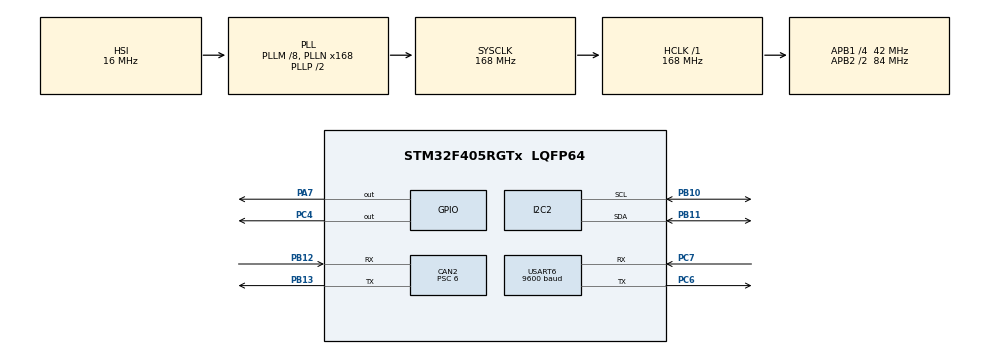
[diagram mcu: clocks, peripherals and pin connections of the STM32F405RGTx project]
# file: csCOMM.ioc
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CAN2.BS1=CAN_BS1_11TQ
CAN2.BS2=CAN_BS2_2TQ
CAN2.CalculateBaudRate=500000
CAN2.CalculateTimeBit=2000
CAN2.CalculateTimeQuantum=142.85714285714286
CAN2.Prescaler=6
Mcu.Family=STM32F4
Mcu.Name=STM32F405RGTx
Mcu.Package=LQFP64
NVIC.CAN2_RX0_IRQn=true\:0\:0\:false\:false\:true\:true\:true\:true
NVIC.PriorityGroup=NVIC_PRIORITYGROUP_4
PA13.Mode=Serial_Wire
PA13.Signal=SYS_JTMS-SWDIO
PA14.Mode=Serial_Wire
PA14.Signal=SYS_JTCK-SWCLK
PA7.Signal=GPIO_Output
PB10.Mode=I2C
PB10.Signal=I2C2_SCL
PB11.Mode=I2C
PB11.Signal=I2C2_SDA
PB12.Mode=CAN_Activate
PB12.Signal=CAN2_RX
PB13.Mode=CAN_Activate
PB13.Signal=CAN2_TX
PC4.Signal=GPIO_Output
PC6.Mode=Asynchronous
PC6.Signal=USART6_TX
PC7.Mode=Asynchronous
PC7.Signal=USART6_RX
PH0-OSC_IN.Mode=HSE-External-Oscillator
PH0-OSC_IN.Signal=RCC_OSC_IN
PH1-OSC_OUT.Mode=HSE-External-Oscillator
PH1-OSC_OUT.Signal=RCC_OSC_OUT
ProjectManager.HeapSize=0x200
ProjectManager.StackSize=0x400
ProjectManager.TargetToolchain=STM32CubeIDE
RCC.48MHZClocksFreq_Value=84000000
RCC.AHBFreq_Value=168000000
RCC.APB1CLKDivider=RCC_HCLK_DIV4
RCC.APB1Freq_Value=42000000
RCC.APB1TimFreq_Value=84000000
RCC.APB2CLKDivider=RCC_HCLK_DIV2
RCC.APB2Freq_Value=84000000
RCC.APB2TimFreq_Value=168000000
RCC.CortexFreq_Value=168000000
RCC.HCLKFreq_Value=168000000
RCC.HSE_VALUE=8000000
RCC.HSI_VALUE=16000000
RCC.LSE_VALUE=32768
RCC.PLLM=8
RCC.PLLN=168
RCC.SYSCLKFreq_VALUE=168000000
RCC.SYSCLKSource=RCC_SYSCLKSOURCE_PLLCLK
RCC.VCOOutputFreq_Value=336000000
RTC.Format=RTC_FORMAT_BIN
USART6.BaudRate=9600
USART6.VirtualMode=VM_ASYNC
VP_RTC_VS_RTC_Activate.Mode=RTC_Enabled
VP_RTC_VS_RTC_Calendar.Mode=RTC_Calendar
board=custom

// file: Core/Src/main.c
/* USER CODE BEGIN Header */
/**
  ******************************************************************************
  * @file           : main.c
  * @brief          : Main program body
  ******************************************************************************
  * @attention
  *
  * Copyright (c) 2026 STMicroelectronics.
  * All rights reserved.
  *
  * This software is licensed under terms that can be found in the LICENSE file
  * in the root directory of this software component.
  * If no LICENSE file comes with this software, it is provided AS-IS.
  *
  ******************************************************************************
  */
/* USER CODE END Header */
#include "main.h"

/* USER CODE BEGIN Includes */
#include <string.h>
#include <stdio.h>
#include "loraLib.h"
#include "INA219.h"
/* USER CODE END Includes */

/* USER CODE BEGIN PD */
RTC_TimeTypeDef sTime = {0};
RTC_DateTypeDef sDate = {0};

INA219_t ina219;
/* USER CODE END PD */

/* USER CODE BEGIN PM */
#define RECIEVER_ADDRESS 7
#define RECIEVER_CHANNEL 27
/* USER CODE END PM */

CAN_HandleTypeDef hcan2;

I2C_HandleTypeDef hi2c2;

RTC_HandleTypeDef hrtc;

UART_HandleTypeDef huart6;

/* USER CODE BEGIN PV */
CAN_TxHeaderTypeDef TxHeader;
CAN_RxHeaderTypeDef RxHeader;

uint32_t TxMailbox;

uint8_t TxData[8];
uint8_t RxData[8];

HAL_StatusTypeDef status;

volatile float receivedValue1 = 0;
volatile float receivedValue2 = 0;

float pitch, roll, yaw, altitude, pressure, temperature, busVoltageFloat, currentFloat,
	  accX, accY, accZ, latitude, longitude, satelliteCount, gpsAltitude;

uint8_t rtcHour;
uint8_t rtcMinute;
uint8_t rtcSecond;
uint16_t rtcMs;

uint8_t rtc2Hour;
uint8_t rtc2Minute;
uint8_t rtc2Second;
uint16_t rtc2Ms;

float busVoltage2Float;
float current2Float;

/////////////INA219 PV/////////////
uint8_t inaOK = 0;
uint16_t busVoltage;
int16_t current;
/* USER CODE END PV */

void SystemClock_Config(void);
static void MX_GPIO_Init(void);
static void MX_CAN2_Init(void);
static void MX_I2C2_Init(void);
static void MX_USART6_UART_Init(void);
static void MX_RTC_Init(void);

/* USER CODE BEGIN 0 */
void CAN_Filter_Config(void);
void CAN_Send_TwoFloat(float a, float b);
/* USER CODE END 0 */

int main(void)
{

  /* MCU Configuration--------------------------------------------------------*/

  /* Reset of all peripherals, Initializes the Flash interface and the Systick. */
  HAL_Init();

  /* Configure the system clock */
  SystemClock_Config();

  /* Initialize all configured peripherals */
  MX_GPIO_Init();
  MX_CAN2_Init();
  MX_I2C2_Init();
  MX_USART6_UART_Init();
  MX_RTC_Init();
  /* USER CODE BEGIN 2 */
  LoraConfigure();

  //////////////////INA219 Init//////////////////
  if (INA219_Init(&ina219, &hi2c2, INA219_ADDRESS))
  {
      inaOK = 1;
  } else inaOK = 2;

  INA219_setCalibration_32V_1A(&ina219);

  CAN_Filter_Config();
  HAL_CAN_Start(&hcan2);
  HAL_CAN_ActivateNotification(&hcan2, CAN_IT_RX_FIFO0_MSG_PENDING);
  /* USER CODE END 2 */

  /* Infinite loop */
  /* USER CODE BEGIN WHILE */
  while (1)
  {
	  HAL_RTC_GetTime(&hrtc, &sTime, RTC_FORMAT_BIN);
	  HAL_RTC_GetDate(&hrtc, &sDate, RTC_FORMAT_BIN);

	  busVoltage = INA219_ReadBusVoltage(&ina219);
	  current = INA219_ReadCurrent(&ina219);
	  //
	  		sensorData.saat = sTime.Hours;
	  		sensorData.dakika = sTime.Minutes;
	  		sensorData.saniye = sTime.Seconds;
	  	    sensorData.Ax = accX;
	  	    sensorData.Ay = accY;
	  	    sensorData.Az = accZ;
//	  	    sensorData.Gx = gyroX;
//	  	    sensorData.Gy = gyroY;
//	  	    sensorData.Gz = gyroZ;
	  	    sensorData.angleX = roll;
	  	    sensorData.angleY = pitch;
	  	    sensorData.angleZ = yaw;
	  		sensorData.enlem = latitude;
	  		sensorData.boylam = longitude;
	  		sensorData.gpsIrtifa = gpsAltitude;
	  		sensorData.uyduSayisi = satelliteCount;
	  		sensorData.irtifa = altitude;
	  		sensorData.SCVoltage = busVoltageFloat;
	  		sensorData.SCCurrent = currentFloat;
	  		sensorData.CCVoltage = busVoltage2Float;
	  		sensorData.CCCurrent = current2Float;
	  		sensorData.COMMCVoltage = busVoltage;
	  		sensorData.COMMCCurrent = current;
	  		LoraSendData(&huart6, 0x00, RECIEVER_ADDRESS, RECIEVER_CHANNEL, &sensorData, sizeof(SensorData));
	  		HAL_Delay(200);
    /* USER CODE END WHILE */

  }
}

void SystemClock_Config(void)
{
  RCC_OscInitTypeDef RCC_OscInitStruct = {0};
  RCC_ClkInitTypeDef RCC_ClkInitStruct = {0};

  /** Configure the main internal regulator output voltage
  */
  __HAL_RCC_PWR_CLK_ENABLE();
  __HAL_PWR_VOLTAGESCALING_CONFIG(PWR_REGULATOR_VOLTAGE_SCALE1);

  /** Initializes the RCC Oscillators according to the specified parameters
  * in the RCC_OscInitTypeDef structure.
  */
  RCC_OscInitStruct.OscillatorType = RCC_OSCILLATORTYPE_HSI|RCC_OSCILLATORTYPE_LSI;
  RCC_OscInitStruct.HSIState = RCC_HSI_ON;
  RCC_OscInitStruct.HSICalibrationValue = RCC_HSICALIBRATION_DEFAULT;
  RCC_OscInitStruct.LSIState = RCC_LSI_ON;
  RCC_OscInitStruct.PLL.PLLState = RCC_PLL_ON;
  RCC_OscInitStruct.PLL.PLLSource = RCC_PLLSOURCE_HSI;
  RCC_OscInitStruct.PLL.PLLM = 8;
  RCC_OscInitStruct.PLL.PLLN = 168;
  RCC_OscInitStruct.PLL.PLLP = RCC_PLLP_DIV2;
  RCC_OscInitStruct.PLL.PLLQ = 4;
  if (HAL_RCC_OscConfig(&RCC_OscInitStruct) != HAL_OK)
  {
    Error_Handler();
  }

  /** Initializes the CPU, AHB and APB buses clocks
  */
  RCC_ClkInitStruct.ClockType = RCC_CLOCKTYPE_HCLK|RCC_CLOCKTYPE_SYSCLK
                              |RCC_CLOCKTYPE_PCLK1|RCC_CLOCKTYPE_PCLK2;
  RCC_ClkInitStruct.SYSCLKSource = RCC_SYSCLKSOURCE_PLLCLK;
  RCC_ClkInitStruct.AHBCLKDivider = RCC_SYSCLK_DIV1;
  RCC_ClkInitStruct.APB1CLKDivider = RCC_HCLK_DIV4;
  RCC_ClkInitStruct.APB2CLKDivider = RCC_HCLK_DIV2;

  if (HAL_RCC_ClockConfig(&RCC_ClkInitStruct, FLASH_LATENCY_5) != HAL_OK)
  {
    Error_Handler();
  }
}

static void MX_CAN2_Init(void)
{

  hcan2.Instance = CAN2;
  hcan2.Init.Prescaler = 6;
  hcan2.Init.Mode = CAN_MODE_NORMAL;
  hcan2.Init.SyncJumpWidth = CAN_SJW_1TQ;
  hcan2.Init.TimeSeg1 = CAN_BS1_11TQ;
  hcan2.Init.TimeSeg2 = CAN_BS2_2TQ;
  hcan2.Init.TimeTriggeredMode = DISABLE;
  hcan2.Init.AutoBusOff = DISABLE;
  hcan2.Init.AutoWakeUp = DISABLE;
  hcan2.Init.AutoRetransmission = DISABLE;
  hcan2.Init.ReceiveFifoLocked = DISABLE;
  hcan2.Init.TransmitFifoPriority = DISABLE;
  if (HAL_CAN_Init(&hcan2) != HAL_OK)
  {
    Error_Handler();
  }

}

static void MX_I2C2_Init(void)
{

  hi2c2.Instance = I2C2;
  hi2c2.Init.ClockSpeed = 100000;
  hi2c2.Init.DutyCycle = I2C_DUTYCYCLE_2;
  hi2c2.Init.OwnAddress1 = 0;
  hi2c2.Init.AddressingMode = I2C_ADDRESSINGMODE_7BIT;
  hi2c2.Init.DualAddressMode = I2C_DUALADDRESS_DISABLE;
  hi2c2.Init.OwnAddress2 = 0;
  hi2c2.Init.GeneralCallMode = I2C_GENERALCALL_DISABLE;
  hi2c2.Init.NoStretchMode = I2C_NOSTRETCH_DISABLE;
  if (HAL_I2C_Init(&hi2c2) != HAL_OK)
  {
    Error_Handler();
  }

}

static void MX_RTC_Init(void)
{

  RTC_TimeTypeDef sTime = {0};
  RTC_DateTypeDef sDate = {0};

  /** Initialize RTC Only
  */
  hrtc.Instance = RTC;
  hrtc.Init.HourFormat = RTC_HOURFORMAT_24;
  hrtc.Init.AsynchPrediv = 127;
  hrtc.Init.SynchPrediv = 255;
  hrtc.Init.OutPut = RTC_OUTPUT_DISABLE;
  hrtc.Init.OutPutPolarity = RTC_OUTPUT_POLARITY_HIGH;
  hrtc.Init.OutPutType = RTC_OUTPUT_TYPE_OPENDRAIN;
  if (HAL_RTC_Init(&hrtc) != HAL_OK)
  {
    Error_Handler();
  }

  /** Initialize RTC and set the Time and Date
  */
  sTime.Hours = 0;
  sTime.Minutes = 0;
  sTime.Seconds = 0;
  sTime.DayLightSaving = RTC_DAYLIGHTSAVING_NONE;
  sTime.StoreOperation = RTC_STOREOPERATION_RESET;
  if (HAL_RTC_SetTime(&hrtc, &sTime, RTC_FORMAT_BIN) != HAL_OK)
  {
    Error_Handler();
  }
  sDate.WeekDay = RTC_WEEKDAY_MONDAY;
  sDate.Month = RTC_MONTH_JANUARY;
  sDate.Date = 1;
  sDate.Year = 0;

  if (HAL_RTC_SetDate(&hrtc, &sDate, RTC_FORMAT_BIN) != HAL_OK)
  {
    Error_Handler();
  }

}

static void MX_USART6_UART_Init(void)
{

  huart6.Instance = USART6;
  huart6.Init.BaudRate = 9600;
  huart6.Init.WordLength = UART_WORDLENGTH_8B;
  huart6.Init.StopBits = UART_STOPBITS_1;
  huart6.Init.Parity = UART_PARITY_NONE;
  huart6.Init.Mode = UART_MODE_TX_RX;
  huart6.Init.HwFlowCtl = UART_HWCONTROL_NONE;
  huart6.Init.OverSampling = UART_OVERSAMPLING_16;
  if (HAL_UART_Init(&huart6) != HAL_OK)
  {
    Error_Handler();
  }

}

static void MX_GPIO_Init(void)
{
  GPIO_InitTypeDef GPIO_InitStruct = {0};

  /* GPIO Ports Clock Enable */
  __HAL_RCC_GPIOH_CLK_ENABLE();
  __HAL_RCC_GPIOA_CLK_ENABLE();
  __HAL_RCC_GPIOC_CLK_ENABLE();
  __HAL_RCC_GPIOB_CLK_ENABLE();

  /*Configure GPIO pin Output Level */
  HAL_GPIO_WritePin(GPIOA, GPIO_PIN_7, GPIO_PIN_RESET);

  /*Configure GPIO pin Output Level */
  HAL_GPIO_WritePin(GPIOC, GPIO_PIN_4, GPIO_PIN_RESET);

  /*Configure GPIO pin : PA7 */
  GPIO_InitStruct.Pin = GPIO_PIN_7;
  GPIO_InitStruct.Mode = GPIO_MODE_OUTPUT_PP;
  GPIO_InitStruct.Pull = GPIO_NOPULL;
  GPIO_InitStruct.Speed = GPIO_SPEED_FREQ_LOW;
  HAL_GPIO_Init(GPIOA, &GPIO_InitStruct);

  /*Configure GPIO pin : PC4 */
  GPIO_InitStruct.Pin = GPIO_PIN_4;
  GPIO_InitStruct.Mode = GPIO_MODE_OUTPUT_PP;
  GPIO_InitStruct.Pull = GPIO_NOPULL;
  GPIO_InitStruct.Speed = GPIO_SPEED_FREQ_LOW;
  HAL_GPIO_Init(GPIOC, &GPIO_InitStruct);

}

/* USER CODE BEGIN 4 */
void CAN_Parse2Float(uint8_t data[8], float *a, float *b)
{
    memcpy(a, &data[0], 4);
    memcpy(b, &data[4], 4);
}

void HAL_CAN_RxFifo0MsgPendingCallback(CAN_HandleTypeDef *hcan)
{
    CAN_RxHeaderTypeDef rxHeader;
    uint8_t data[8];

    HAL_CAN_GetRxMessage(hcan, CAN_RX_FIFO0, &rxHeader, data);

    float val1, val2;

    switch(rxHeader.StdId)
    {
        // IMU
        case 0x112:
            CAN_Parse2Float(data, &yaw, &pitch);
            break;

        case 0x113:
        {
            CAN_Parse2Float(data, &roll, &val2);

            uint32_t hm = (uint32_t)val2;

            rtcHour = hm / 100;
            rtcMinute = hm % 100;

            break;
        }

        // Accelerometer
        case 0x114:
            CAN_Parse2Float(data, &accX, &accY);
            break;

        case 0x115:
        {
            CAN_Parse2Float(data, &accZ, &val2);

            uint32_t sm = (uint32_t)val2;

            rtcSecond = sm / 1000;
            rtcMs = sm % 1000;

            break;
        }

        // Barometer
        case 0x122:
            CAN_Parse2Float(data, &pressure, &temperature);
            break;

        case 0x123:
            CAN_Parse2Float(data, &altitude, &val1);
            break;

        // GPS
        case 0x132:
            CAN_Parse2Float(data, &latitude, &longitude);
            break;

        case 0x133:
            CAN_Parse2Float(data, &gpsAltitude, &satelliteCount);
            break;

        // INA219
        case 0x142:
            CAN_Parse2Float(data,
                            &busVoltageFloat,
                            &currentFloat);
            break;

        case 0x211:
        {
        	CAN_Parse2Float(data, &val1, &val2);

            uint32_t hm = (uint32_t)val1;
            uint32_t sm = (uint32_t)val2;

            rtc2Hour   = hm / 100;
            rtc2Minute = hm % 100;

            rtc2Second = sm / 1000;
            rtc2Ms     = sm % 1000;

            break;
        }

        case 0x212:
        	CAN_Parse2Float(data, &busVoltage2Float, &current2Float);
            break;
    }
}

void CAN_Filter_Config(void)
{
    CAN_FilterTypeDef sFilterConfig;

    sFilterConfig.FilterBank = 14;
    sFilterConfig.SlaveStartFilterBank = 14;

    sFilterConfig.FilterMode = CAN_FILTERMODE_IDMASK;
    sFilterConfig.FilterScale = CAN_FILTERSCALE_32BIT;

    sFilterConfig.FilterIdHigh = 0x0000;
    sFilterConfig.FilterIdLow = 0x0000;

    sFilterConfig.FilterMaskIdHigh = 0x0000;
    sFilterConfig.FilterMaskIdLow = 0x0000;

    sFilterConfig.FilterFIFOAssignment = CAN_FILTER_FIFO0;
    sFilterConfig.FilterActivation = ENABLE;

    HAL_CAN_ConfigFilter(&hcan2, &sFilterConfig);
}
/* USER CODE END 4 */

void Error_Handler(void)
{
  __disable_irq();
  while (1)
  {
  }
}
